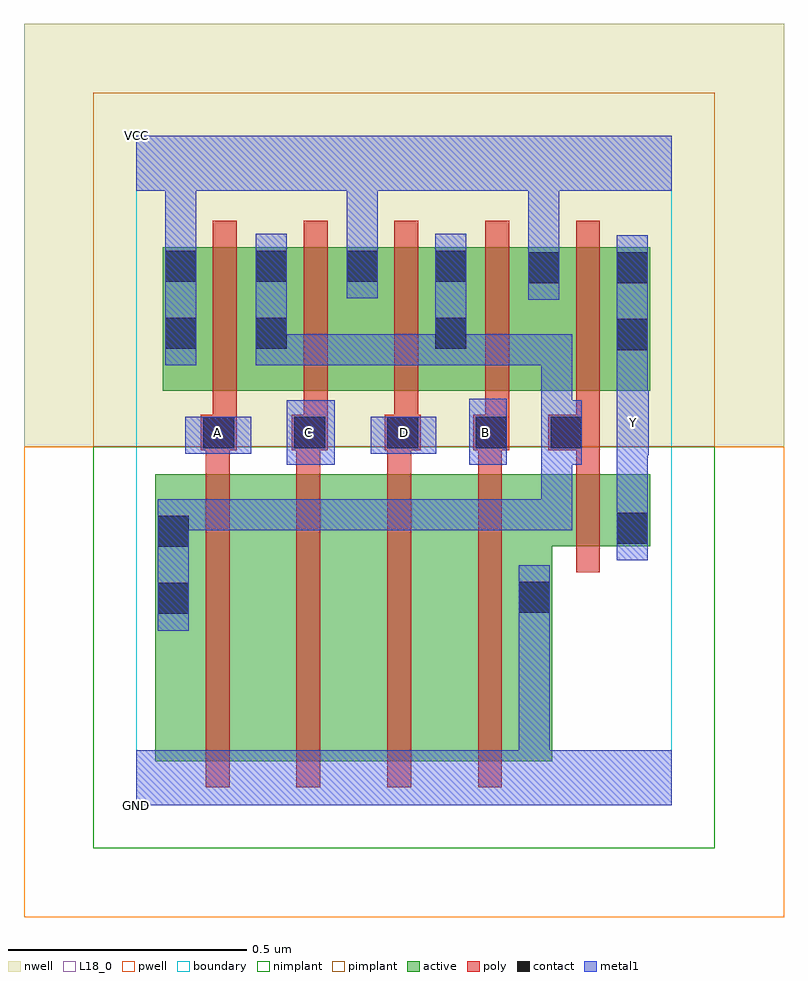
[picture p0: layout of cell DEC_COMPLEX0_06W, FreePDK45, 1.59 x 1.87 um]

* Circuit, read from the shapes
.subckt DEC_COMPLEX0_06W A B C D GND VCC Y
M1 n1 A n2 VSUBS nfet w=0.6u l=0.05u
M2 n3 C n1 VSUBS nfet w=0.6u l=0.05u
M3 n4 D n3 VSUBS nfet w=0.6u l=0.05u
M4 GND B n4 VSUBS nfet w=0.6u l=0.05u
M5 Y n2 GND VSUBS nfet w=0.15u l=0.05u
M6 n2 A VCC n5 pfet w=0.3u l=0.05u
M7 VCC C n2 n5 pfet w=0.3u l=0.05u
M8 n2 D VCC n5 pfet w=0.3u l=0.05u
M9 VCC B n2 n5 pfet w=0.3u l=0.05u
M10 Y n2 VCC n5 pfet w=0.3u l=0.05u
.ends

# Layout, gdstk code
import gdstk
lib = gdstk.Library(unit=1e-6, precision=1e-09)
def R(c, l, rs):  # rectangles x0, y0, x1, y1
    for r in rs: c.add(gdstk.rectangle(r[:2], r[2:], *l))
def A(c, l, x, y, w, h, nx, ny, dx, dy):  # array of equal rectangles
    R(c, l, [(x+i*dx, y+j*dy, x+i*dx+w, y+j*dy+h) for i in range(nx) for j in range(ny)])
active = (1, 0)
pwell = (2, 0)
nwell = (3, 0)
nimplant = (4, 0)
pimplant = (5, 0)
poly = (9, 0)
contact = (10, 0)
metal1 = (11, 0)
L18_0 = (18, 0)
boundary = (235, 0)

dec_complex0_06w = lib.new_cell('DEC_COMPLEX0_06W')
R(dec_complex0_06w, active, [(0.04,0.092,0.265,0.692), (0.265,0.092,0.455,0.692), (0.455,0.092,0.645,0.692), (0.645,0.092,0.87,0.692), (0.04,0.095,0.145,0.692), (0.795,0.397,0.87,0.542), (0.795,0.542,1.075,0.692), (1,0.542,1.075,0.692), (0.055,0.867,0.13,1.167), (0.055,0.867,0.32,1.167), (0.245,0.867,0.32,1.167), (0.245,0.867,0.51,1.167), (0.435,0.867,0.695,1.167), (0.62,0.867,0.695,1.167), (0.62,0.867,0.89,1.167), (0.815,0.867,1.075,1.167), (1,0.867,1.075,1.167), (0.435,1.002,0.51,1.167), (0.815,1.002,0.89,1.167)])
R(dec_complex0_06w, pwell, [(-0.235,-0.235,1.355,0.75)])
R(dec_complex0_06w, nwell, [(-0.235,0.75,1.355,1.635)])
R(dec_complex0_06w, nimplant, [(-0.09,-0.09,1.21,0.75)])
R(dec_complex0_06w, pimplant, [(-0.09,0.75,1.21,1.49)])
A(dec_complex0_06w, poly, 0.145, 0.037, 0.05, 0.71, 4, 1, 0.19, 0)
A(dec_complex0_06w, poly, 0.145, 0.697, 0.05, 0.095, 4, 1, 0.19, 0)
A(dec_complex0_06w, poly, 0.16, 0.767, 0.05, 0.095, 5, 1, 0.19, 0)
A(dec_complex0_06w, poly, 0.16, 0.812, 0.05, 0.41, 5, 1, 0.19, 0)
R(dec_complex0_06w, poly, [(0.92,0.487,0.97,0.747), (0.92,0.697,0.97,0.792), (0.135,0.742,0.21,0.817), (0.325,0.742,0.4,0.817), (0.52,0.742,0.595,0.817), (0.705,0.742,0.78,0.817), (0.862,0.742,0.97,0.817)])
A(dec_complex0_06w, contact, 0.06, 1.095, 0.065, 0.065, 3, 1, 0.19, 0)
R(dec_complex0_06w, contact, [(0.045,0.4,0.11,0.465), (0.8,0.402,0.865,0.467), (0.045,0.54,0.11,0.605), (1.005,0.547,1.07,0.612), (0.14,0.747,0.205,0.812), (0.33,0.747,0.395,0.812), (0.525,0.747,0.59,0.812), (0.71,0.747,0.775,0.812), (0.867,0.747,0.932,0.812), (1.005,0.952,1.07,1.017), (0.06,0.955,0.125,1.02), (0.25,0.955,0.315,1.02), (0.625,0.955,0.69,1.02), (0.82,1.092,0.885,1.157), (1.005,1.092,1.07,1.157), (0.625,1.095,0.69,1.16)])
R(dec_complex0_06w, metal1, [(0,0,1.12,0.115), (0.8,0.05,0.865,0.432), (0.045,0.365,0.11,0.64), (0.8,0.367,0.865,0.502), (1.005,0.512,1.07,0.647), (0.045,0.575,0.117,0.64), (0.052,0.575,0.117,0.64), (0.052,0.575,0.322,0.64), (0.257,0.575,0.322,0.64), (0.257,0.575,0.352,0.64), (0.287,0.575,0.352,0.64), (0.287,0.575,0.46,0.64), (0.395,0.575,0.46,0.64), (0.395,0.575,0.552,0.64), (0.487,0.575,0.552,0.64), (0.487,0.575,0.707,0.64), (0.642,0.575,0.707,0.64), (0.642,0.575,0.707,0.64), (0.642,0.575,0.707,0.64), (0.642,0.575,0.912,0.64), (0.847,0.575,0.912,0.64), (0.847,0.575,0.912,0.847), (1.005,0.582,1.07,0.797), (0.315,0.712,0.415,0.847), (0.697,0.712,0.775,0.85), (0.867,0.712,0.932,0.847), (1.005,0.732,1.072,0.867), (0.102,0.735,0.24,0.812), (0.49,0.735,0.627,0.812), (0.847,0.782,0.932,0.847), (0.847,0.782,0.912,0.847), (0.847,0.782,0.912,0.985), (1.005,0.802,1.07,0.982), (1.005,0.917,1.07,1.192), (0.06,0.92,0.125,1.195), (0.25,0.92,0.315,1.195), (0.25,0.92,0.315,0.985), (0.25,0.92,0.315,0.985), (0.25,0.92,0.5,0.985), (0.435,0.92,0.5,0.985), (0.435,0.92,0.552,0.985), (0.487,0.92,0.552,0.985), (0.487,0.92,0.69,0.985), (0.625,0.92,0.69,1.195), (0.625,0.92,0.69,0.985), (0.625,0.92,0.69,0.985), (0.625,0.92,0.912,0.985), (0.847,0.92,0.912,0.985), (0.82,1.057,0.885,1.192), (0.44,1.06,0.505,1.195), (0.82,1.127,0.885,1.35), (0.06,1.13,0.125,1.195), (0.06,1.13,0.125,1.195), (0.06,1.13,0.125,1.35), (0.44,1.13,0.505,1.195), (0.44,1.13,0.505,1.195), (0.44,1.13,0.505,1.35), (0,1.285,1.12,1.4), (0.82,1.285,0.885,1.35), (0.82,1.285,0.885,1.35)])
R(dec_complex0_06w, L18_0, [(0,0,1.12,0.115), (0.8,0.05,0.865,0.432), (0.8,0.367,0.865,0.502), (1.005,0.512,1.07,0.647), (1.005,0.582,1.07,0.797), (0.315,0.712,0.415,0.847), (0.697,0.712,0.775,0.85), (1.005,0.732,1.072,0.867), (0.102,0.735,0.24,0.812), (0.49,0.735,0.627,0.812), (0.137,0.747,0.202,0.812), (0.327,0.747,0.392,0.812), (0.527,0.747,0.592,0.812), (0.697,0.747,0.762,0.812), (1.007,0.767,1.072,0.832), (1.005,0.802,1.07,0.982), (1.005,0.917,1.07,1.192), (0.06,0.92,0.125,1.195), (0.82,1.057,0.885,1.192), (0.44,1.06,0.505,1.195), (0.82,1.127,0.885,1.35), (0.06,1.13,0.125,1.195), (0.06,1.13,0.125,1.195), (0.06,1.13,0.125,1.35), (0.44,1.13,0.505,1.195), (0.44,1.13,0.505,1.195), (0.44,1.13,0.505,1.35), (0,1.285,1.12,1.4), (0.82,1.285,0.885,1.35), (0.82,1.285,0.885,1.35)])
R(dec_complex0_06w, boundary, [(0,0,1.12,1.4)])
dec_complex0_06w.add(gdstk.Label('A', (0.17,0.78), layer=11, texttype=0))
dec_complex0_06w.add(gdstk.Label('B', (0.73,0.78), layer=11, texttype=0))
dec_complex0_06w.add(gdstk.Label('C', (0.36,0.78), layer=11, texttype=0))
dec_complex0_06w.add(gdstk.Label('D', (0.56,0.78), layer=11, texttype=0))
dec_complex0_06w.add(gdstk.Label('Y', (1.04,0.8), layer=11, texttype=0))
dec_complex0_06w.add(gdstk.Label('VCC', (0,1.4), layer=11, texttype=0))
dec_complex0_06w.add(gdstk.Label('GND', (0,0), layer=11, texttype=0))

lib.write_gds('DEC_COMPLEX0_06W.gds')
